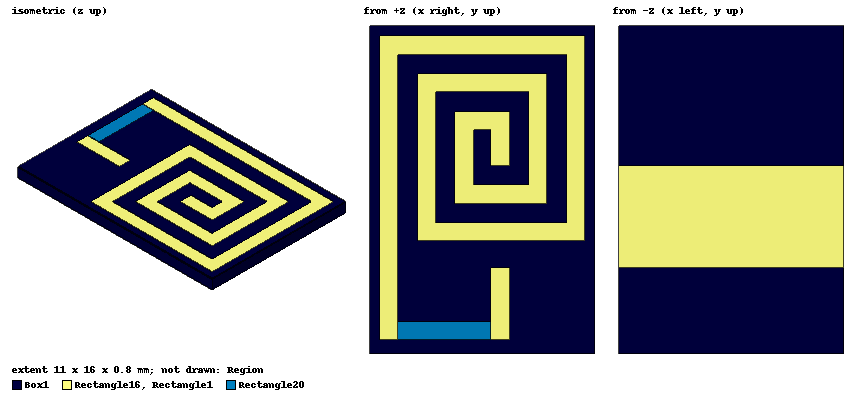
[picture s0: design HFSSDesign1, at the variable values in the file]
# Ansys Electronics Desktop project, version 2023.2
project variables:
  $subs = 0.8mm
  $f = 890MHz
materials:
  vacuum: permittivity=1
  FR4_epoxy: permittivity=4.4 dielectric_loss_tangent=0.02
  air: permittivity=1.0006 permeability=1.0000004

design HFSSDesign1 (HFSS, HFSS Terminal Network, model units mm)
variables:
  dout = 10mm
  w = 0.9mm
  s = 0.94mm
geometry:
  Rectangle1 = rectangle(corner=(0mm, 0mm, 0mm), x_size=w, y_size=dout)
  Rectangle2 = rectangle(corner=(0mm, 10mm, 0mm), x_size=dout, y_size=-w)
  Rectangle3 = rectangle(corner=(10mm, 10mm, 0mm), x_size=-w, y_size=-10mm)
  Rectangle5 = rectangle(corner=(1.84mm, 0mm, 0mm), x_size=8.16mm, y_size=w)
  Rectangle6 = rectangle(corner=(1.84mm, 0mm, 0mm), x_size=w, y_size=8.16mm)
  Rectangle7 = rectangle(corner=(1.84mm, 8.16mm, 0mm), x_size=6.32mm, y_size=-w)
  Rectangle8 = rectangle(corner=(8.16mm, 8.16mm, 0mm), x_size=-w, y_size=-6.32mm)
  Rectangle9 = rectangle(corner=(8.16mm, 1.84mm, 0mm), x_size=-4.48mm, y_size=w)
  Rectangle10 = rectangle(corner=(3.68mm, 1.84mm, 0mm), x_size=w, y_size=4.48mm)
  Rectangle11 = rectangle(corner=(3.68mm, 6.32mm, 0mm), x_size=2.64mm, y_size=-w)
  Rectangle12 = rectangle(corner=(6.32mm, 6.32mm, 0mm), x_size=-w, y_size=-2.64mm)
  Rectangle1.unite(Rectangle2, Rectangle3, Rectangle5..Rectangle12)
  Box1 [FR4_epoxy] = box(corner=(-0.5mm, -0.5mm, 0mm), size=(11mm, 16mm, -$subs))
  Rectangle13 = rectangle(corner=(0mm, 0mm, 0mm), x_size=0.9mm, y_size=-0.5mm)
  Rectangle1.unite(Rectangle13)
  Rectangle15 = rectangle(corner=(5.42mm, 3.68mm, 0mm), z_size=-$subs, x_size=w)
  [Rectangle1, Rectangle15].move(0mm, 5mm, 0mm)
  Rectangle16 = rectangle(corner=(6.32mm, 8.68mm, -0.8mm), x_size=-w, y_size=-5mm)
  Rectangle17 = rectangle(corner=(5.42mm, 3.68mm, -0.8mm), z_size=$subs, x_size=w)
  Rectangle18 = rectangle(corner=(6.32mm, 3.68mm, 0mm), x_size=-w, y_size=-3.5mm)
  Rectangle19 = rectangle(corner=(0.9mm, 4.5mm, 0mm), x_size=-w, y_size=-4.32mm)
  Rectangle1.unite(Rectangle19)
  Rectangle16.unite(Rectangle17, Rectangle18)
  Rectangle20 = rectangle(corner=(0.9mm, 0.18mm, 0mm), x_size=4.5mm, y_size=w)
  Region [air] = region(percentage_offset=34.5 on all sides)
  Rectangle21 = rectangle(corner=(5.42mm, 3.68mm, -0.8mm), x_size=-5.92mm, y_size=11.82mm)
  Rectangle22 = rectangle(corner=(5.42mm, 3.68mm, -0.8mm), x_size=5.08mm, y_size=11.82mm)
  Rectangle16.unite(Rectangle22, Rectangle21)
  Rectangle23 = rectangle(corner=(6.32mm, 8.68mm, -0.8mm), x_size=-6.82mm, y_size=6.82mm)
  Rectangle24 = rectangle(corner=(10.5mm, 15.5mm, -0.8mm), x_size=-4.18mm, y_size=-6.82mm)
  Rectangle24.unite(Rectangle23)
  Rectangle16.subtract(Rectangle24)
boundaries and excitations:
  PerfE1: Perfect E Objects=[Rectangle1, Rectangle15, Rectangle16]
  1: Lumped Port Objects=Rectangle20 LumpedPortType=Modal Modes{Mode1{IntLine{(5.4, 0.63, 0) -> (0.9, 0.63, 0)} CharImp=Zpi RenormImp=50ohm}} Impedance=50ohm
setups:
  Setup1: HfssDriven Frequency=0.868GHz MaxDeltaS=0.02 MaximumPasses=20 MinimumPasses=1 MinimumConvergedPasses=1 PercentRefinement=30 BasisOrder=1 PortAccuracy=2 DrivenSolverType="Direct Solver"
    sweep Sweep: 0.4GHz to 1.5GHz, 401 points; Type=Interpolating InterpTolerance=0.5 InterpMaxSolns=250 PassivityErrorTolerance=0.0001
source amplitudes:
  1:1: 1V 0deg
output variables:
  L1 = (-1*10^9)/(2*3.14*868000000*im(Yt(1,1)))
  L2 = (-1*10^9)/(2*3.14*$f*im(Yt(1,1)))
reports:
  Terminal Y Parameter: dB(Yt(1,1)) vs Freq on Setup1 : Sweep [dout=all w=all s=all $subs=all]
  Terminal Y Parameter1: dB(Yt(1,1)) vs Pass on Setup1 : AdaptivePass [Freq=all dout=all w=all s=all $subs=all]
  Output Variables Plot 1: L1 vs Freq on Setup1 : Sweep [dout=all w=all s=all $subs=all]; markers MX1 at x=8.6666667e+08, MX2 at x=9.9521912e+08
  Output Variables Plot 2: L2 vs Freq on Setup1 : Sweep [dout=all w=all s=all $subs=all]; markers MX1 at x=8.0079365e+08
